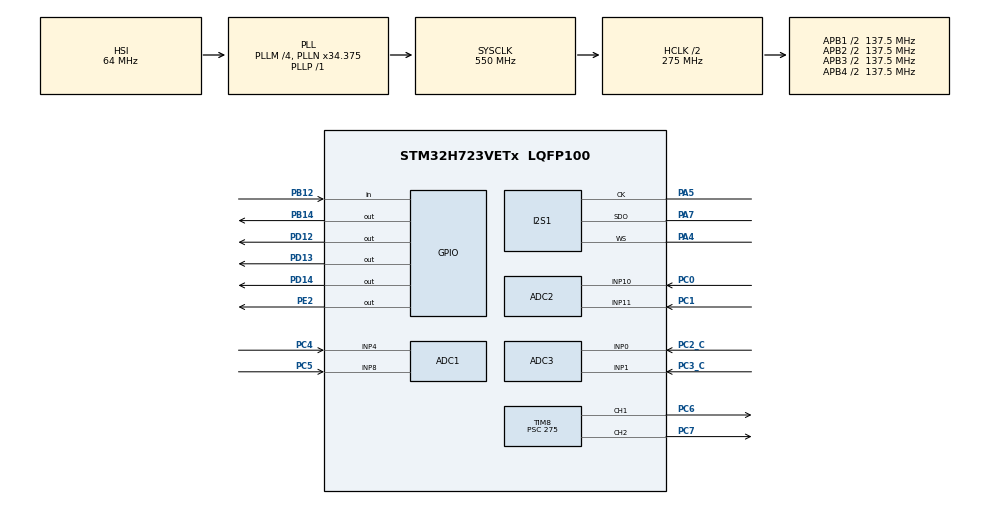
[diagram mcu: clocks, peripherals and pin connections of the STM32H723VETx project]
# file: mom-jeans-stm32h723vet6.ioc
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ADC1.Channel-4\#ChannelRegularConversion=ADC_CHANNEL_4
ADC1.Channel-5\#ChannelRegularConversion=ADC_CHANNEL_8
ADC1.ConversionDataManagement=ADC_CONVERSIONDATA_DMA_CIRCULAR
ADC1.EOCSelection=ADC_EOC_SEQ_CONV
ADC1.ExternalTrigConv=ADC_EXTERNALTRIG_T2_TRGO
ADC1.NbrOfConversion=2
ADC1.NbrOfConversionFlag=1
ADC1.OffsetNumber-4\#ChannelRegularConversion=ADC_OFFSET_NONE
ADC1.OffsetNumber-5\#ChannelRegularConversion=ADC_OFFSET_NONE
ADC1.OffsetSignedSaturation-4\#ChannelRegularConversion=DISABLE
ADC1.OffsetSignedSaturation-5\#ChannelRegularConversion=DISABLE
ADC1.OversamplingMode=ENABLE
ADC1.Rank-4\#ChannelRegularConversion=1
ADC1.Rank-5\#ChannelRegularConversion=2
ADC1.Ratio=4
ADC1.RightBitShift=ADC_RIGHTBITSHIFT_2
ADC1.SamplingTime-4\#ChannelRegularConversion=ADC_SAMPLETIME_810CYCLES_5
ADC1.SamplingTime-5\#ChannelRegularConversion=ADC_SAMPLETIME_810CYCLES_5
ADC1.master=1
ADC2.Channel-0\#ChannelRegularConversion=ADC_CHANNEL_10
ADC2.Channel-1\#ChannelRegularConversion=ADC_CHANNEL_11
ADC2.ConversionDataManagement=ADC_CONVERSIONDATA_DMA_CIRCULAR
ADC2.EOCSelection=ADC_EOC_SEQ_CONV
ADC2.ExternalTrigConv=ADC_EXTERNALTRIG_T3_TRGO
ADC2.NbrOfConversion=2
ADC2.NbrOfConversionFlag=1
ADC2.OffsetNumber-0\#ChannelRegularConversion=ADC_OFFSET_NONE
ADC2.OffsetNumber-1\#ChannelRegularConversion=ADC_OFFSET_NONE
ADC2.OffsetSignedSaturation-0\#ChannelRegularConversion=DISABLE
ADC2.OffsetSignedSaturation-1\#ChannelRegularConversion=DISABLE
ADC2.OversamplingMode=ENABLE
ADC2.Rank-0\#ChannelRegularConversion=1
ADC2.Rank-1\#ChannelRegularConversion=2
ADC2.Ratio=16
ADC2.RightBitShift=ADC_RIGHTBITSHIFT_4
ADC2.SamplingTime-0\#ChannelRegularConversion=ADC_SAMPLETIME_387CYCLES_5
ADC2.SamplingTime-1\#ChannelRegularConversion=ADC_SAMPLETIME_387CYCLES_5
ADC3.Channel-0\#ChannelRegularConversion=ADC_CHANNEL_0
ADC3.Channel-2\#ChannelRegularConversion=ADC_CHANNEL_1
ADC3.ConversionDataManagement=ADC_CONVERSIONDATA_DMA_CIRCULAR
ADC3.DMAContinuousRequests=ENABLE
ADC3.EOCSelection=ADC_EOC_SEQ_CONV
ADC3.EnableAnalogWatchDog2=false
ADC3.ExternalTrigConv=ADC_EXTERNALTRIG_T1_TRGO
ADC3.NbrOfConversion=2
ADC3.NbrOfConversionFlag=1
ADC3.OffsetNumber-0\#ChannelRegularConversion=ADC_OFFSET_NONE
ADC3.OffsetNumber-2\#ChannelRegularConversion=ADC_OFFSET_NONE
ADC3.OffsetSign-0\#ChannelRegularConversion=ADC3_OFFSET_SIGN_NEGATIVE
ADC3.OffsetSign-2\#ChannelRegularConversion=ADC3_OFFSET_SIGN_NEGATIVE
ADC3.OversamplingMode=ENABLE
ADC3.Rank-0\#ChannelRegularConversion=1
ADC3.Rank-2\#ChannelRegularConversion=2
ADC3.Ratio=ADC3_OVERSAMPLING_RATIO_16
ADC3.RightBitShift=ADC_RIGHTBITSHIFT_4
ADC3.SamplingTime-0\#ChannelRegularConversion=ADC3_SAMPLETIME_47CYCLES_5
ADC3.SamplingTime-2\#ChannelRegularConversion=ADC3_SAMPLETIME_47CYCLES_5
CORTEX_M7.default_mode_Activation=1
Dma.ADC1.1.Direction=DMA_PERIPH_TO_MEMORY
Dma.ADC1.1.EventEnable=DISABLE
Dma.ADC1.1.FIFOMode=DMA_FIFOMODE_DISABLE
Dma.ADC1.1.Instance=DMA1_Stream1
Dma.ADC1.1.MemDataAlignment=DMA_MDATAALIGN_HALFWORD
Dma.ADC1.1.MemInc=DMA_MINC_ENABLE
Dma.ADC1.1.Mode=DMA_CIRCULAR
Dma.ADC1.1.PeriphDataAlignment=DMA_PDATAALIGN_HALFWORD
Dma.ADC1.1.PeriphInc=DMA_PINC_DISABLE
Dma.ADC1.1.Polarity=HAL_DMAMUX_REQ_GEN_RISING
Dma.ADC1.1.Priority=DMA_PRIORITY_LOW
Dma.ADC1.1.RequestNumber=1
Dma.ADC1.1.SignalID=NONE
Dma.ADC1.1.SyncEnable=DISABLE
Dma.ADC1.1.SyncPolarity=HAL_DMAMUX_SYNC_NO_EVENT
Dma.ADC1.1.SyncRequestNumber=1
Dma.ADC1.1.SyncSignalID=NONE
Dma.ADC2.0.Direction=DMA_PERIPH_TO_MEMORY
Dma.ADC2.0.EventEnable=DISABLE
Dma.ADC2.0.FIFOMode=DMA_FIFOMODE_DISABLE
Dma.ADC2.0.Instance=DMA1_Stream0
Dma.ADC2.0.MemDataAlignment=DMA_MDATAALIGN_HALFWORD
Dma.ADC2.0.MemInc=DMA_MINC_ENABLE
Dma.ADC2.0.Mode=DMA_CIRCULAR
Dma.ADC2.0.PeriphDataAlignment=DMA_PDATAALIGN_HALFWORD
Dma.ADC2.0.PeriphInc=DMA_PINC_DISABLE
Dma.ADC2.0.Polarity=HAL_DMAMUX_REQ_GEN_RISING
Dma.ADC2.0.Priority=DMA_PRIORITY_LOW
Dma.ADC2.0.RequestNumber=1
Dma.ADC2.0.SignalID=NONE
Dma.ADC2.0.SyncEnable=DISABLE
Dma.ADC2.0.SyncPolarity=HAL_DMAMUX_SYNC_NO_EVENT
Dma.ADC2.0.SyncRequestNumber=1
Dma.ADC2.0.SyncSignalID=NONE
Dma.ADC3.2.Direction=DMA_PERIPH_TO_MEMORY
Dma.ADC3.2.EventEnable=DISABLE
Dma.ADC3.2.FIFOMode=DMA_FIFOMODE_DISABLE
Dma.ADC3.2.Instance=DMA2_Stream0
Dma.ADC3.2.MemDataAlignment=DMA_MDATAALIGN_HALFWORD
Dma.ADC3.2.MemInc=DMA_MINC_ENABLE
Dma.ADC3.2.Mode=DMA_CIRCULAR
Dma.ADC3.2.PeriphDataAlignment=DMA_PDATAALIGN_HALFWORD
Dma.ADC3.2.PeriphInc=DMA_PINC_DISABLE
Dma.ADC3.2.Polarity=HAL_DMAMUX_REQ_GEN_RISING
Dma.ADC3.2.Priority=DMA_PRIORITY_LOW
Dma.ADC3.2.RequestNumber=1
Dma.ADC3.2.SignalID=NONE
Dma.ADC3.2.SyncEnable=DISABLE
Dma.ADC3.2.SyncPolarity=HAL_DMAMUX_SYNC_NO_EVENT
Dma.ADC3.2.SyncRequestNumber=1
Dma.ADC3.2.SyncSignalID=NONE
Dma.Request0=ADC2
Dma.Request1=ADC1
Dma.Request2=ADC3
Dma.Request3=SPI1_TX
Dma.SPI1_TX.3.Direction=DMA_MEMORY_TO_PERIPH
Dma.SPI1_TX.3.EventEnable=DISABLE
Dma.SPI1_TX.3.FIFOMode=DMA_FIFOMODE_DISABLE
Dma.SPI1_TX.3.Instance=DMA1_Stream2
Dma.SPI1_TX.3.MemDataAlignment=DMA_MDATAALIGN_HALFWORD
Dma.SPI1_TX.3.MemInc=DMA_MINC_ENABLE
Dma.SPI1_TX.3.Mode=DMA_CIRCULAR
Dma.SPI1_TX.3.PeriphDataAlignment=DMA_PDATAALIGN_HALFWORD
Dma.SPI1_TX.3.PeriphInc=DMA_PINC_DISABLE
Dma.SPI1_TX.3.Polarity=HAL_DMAMUX_REQ_GEN_RISING
Dma.SPI1_TX.3.Priority=DMA_PRIORITY_VERY_HIGH
Dma.SPI1_TX.3.RequestNumber=1
Dma.SPI1_TX.3.SignalID=NONE
Dma.SPI1_TX.3.SyncEnable=DISABLE
Dma.SPI1_TX.3.SyncPolarity=HAL_DMAMUX_SYNC_NO_EVENT
Dma.SPI1_TX.3.SyncRequestNumber=1
Dma.SPI1_TX.3.SyncSignalID=NONE
I2S1.AudioFreq=I2S_AUDIOFREQ_44K
I2S1.DataFormat=I2S_DATAFORMAT_16B_EXTENDED
I2S1.ErrorAudioFreq=0.15 %
I2S1.Instance=SPI$Index
I2S1.RealAudioFreq=44.07 KHz
Mcu.Family=STM32H7
Mcu.Name=STM32H723VETx
Mcu.Package=LQFP100
NVIC.ADC3_IRQn=true\:0\:0\:false\:false\:true\:true\:true\:true
NVIC.ADC_IRQn=true\:0\:0\:false\:false\:true\:true\:true\:true
NVIC.DMA1_Stream0_IRQn=true\:0\:0\:false\:false\:true\:false\:true\:true
NVIC.DMA1_Stream1_IRQn=true\:0\:0\:false\:false\:true\:false\:true\:true
NVIC.DMA1_Stream2_IRQn=true\:0\:0\:false\:false\:true\:false\:true\:true
NVIC.DMA2_Stream0_IRQn=true\:0\:0\:false\:false\:true\:false\:true\:true
NVIC.PriorityGroup=NVIC_PRIORITYGROUP_4
NVIC.TIM2_IRQn=true\:0\:0\:false\:false\:true\:true\:true\:true
PA15(JTDI).Signal=S_TIM2_CH1_ETR
PA4.Mode=Half_Duplex_Master_Tx
PA4.Signal=I2S1_WS
PA5.Mode=Half_Duplex_Master_Tx
PA5.Signal=I2S1_CK
PA7.Mode=Half_Duplex_Master_Tx
PA7.Signal=I2S1_SDO
PB12.Signal=GPIO_Input
PB14.Signal=GPIO_Output
PC0.Signal=ADCx_INP10
PC1.Signal=ADCx_INP11
PC2_C.Mode=IN0-Single-Ended
PC2_C.Signal=ADC3_INP0
PC3_C.Mode=IN1-Single-Ended
PC3_C.Signal=ADC3_INP1
PC4.Signal=ADCx_INP4
PC5.Signal=ADCx_INP8
PC6.Signal=S_TIM8_CH1
PC7.Signal=S_TIM8_CH2
PD12.Signal=GPIO_Output
PD13.Signal=GPIO_Output
PD14.Signal=GPIO_Output
PE2.Signal=GPIO_Output
ProjectManager.HeapSize=0x200
ProjectManager.StackSize=0x400
ProjectManager.TargetToolchain=CMake
RCC.ADCFreq_Value=96000000
RCC.APB1Freq_Value=137500000
RCC.APB2Freq_Value=137500000
RCC.APB3Freq_Value=137500000
RCC.APB4Freq_Value=137500000
RCC.CortexFreq_Value=550000000
RCC.D1PPRE=RCC_APB3_DIV2
RCC.D2PPRE1=RCC_APB1_DIV2
RCC.D2PPRE2=RCC_APB2_DIV2
RCC.D3PPRE=RCC_APB4_DIV2
RCC.DIVM1=4
RCC.DIVM2=4
RCC.DIVN1=34
RCC.DIVN2=12
RCC.DIVP1=1
RCC.DIVQ1=3
RCC.HCLKFreq_Value=275000000
RCC.HPRE=RCC_HCLK_DIV2
RCC.PLL2FRACN=0
RCC.PLL3FRACN=0
RCC.PLLFRACN=3072
RCC.SYSCLKFreq_VALUE=550000000
RCC.SYSCLKSource=RCC_SYSCLKSOURCE_PLLCLK
RCC.USBFreq_Value=183333333.33333334
SH.ADCx_INP10.0=ADC2_INP10,IN10-Single-Ended
SH.ADCx_INP11.0=ADC2_INP11,IN11-Single-Ended
SH.ADCx_INP4.0=ADC1_INP4,IN4-Single-Ended
SH.ADCx_INP8.0=ADC1_INP8,IN8-Single-Ended
SH.S_TIM2_CH1_ETR.0=TIM2_CH1
SH.S_TIM8_CH1.0=TIM8_CH1,PWM Generation1 CH1
SH.S_TIM8_CH2.0=TIM8_CH2,PWM Generation2 CH2
TIM1.Period=77
TIM1.Prescaler=79
TIM1.RepetitionCounter=0
TIM1.TIM_MasterOutputTrigger=TIM_TRGO_UPDATE
TIM2.Channel-Output\ Compare1\ No\ Output=TIM_CHANNEL_1
TIM2.Period=100 - 1
TIM2.Prescaler=1920- 1
TIM2.Pulse-Output\ Compare1\ No\ Output=50
TIM2.TIM_MasterOutputTrigger=TIM_TRGO_OC1
TIM2.TIM_MasterSlaveMode=TIM_MASTERSLAVEMODE_DISABLE
TIM3.Period=256-1
TIM3.Prescaler=24-1
TIM3.TIM_MasterOutputTrigger=TIM_TRGO_UPDATE
TIM8.Channel-PWM\ Generation1\ CH1=TIM_CHANNEL_1
TIM8.Channel-PWM\ Generation2\ CH2=TIM_CHANNEL_2
TIM8.OCPolarity_1=TIM_OCPOLARITY_LOW
TIM8.OCPolarity_2=TIM_OCPOLARITY_LOW
TIM8.Period=999
TIM8.Prescaler=275
VP_MEMORYMAP_VS_MEMORYMAP.Mode=CurAppReg
VP_TIM1_VS_ClockSourceINT.Mode=Internal
VP_TIM2_VS_ClockSourceINT.Mode=Internal
VP_TIM2_VS_no_output1.Mode=Output Compare1 No Output
VP_TIM3_VS_ClockSourceINT.Mode=Internal
VP_TIM8_VS_ClockSourceINT.Mode=Internal
board=custom

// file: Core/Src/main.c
/* USER CODE BEGIN Header */
/**
  ******************************************************************************
  * @file           : main.c
  * @brief          : Main program body
  ******************************************************************************
  * @attention
  *
  * Copyright (c) 2025 STMicroelectronics.
  * All rights reserved.
  *
  * This software is licensed under terms that can be found in the LICENSE file
  * in the root directory of this software component.
  * If no LICENSE file comes with this software, it is provided AS-IS.
  *
  ******************************************************************************
  */
/* USER CODE END Header */
#include "main.h"

/* USER CODE BEGIN Includes */
#include "pulsar.h"
#include "math.h"
#include "pulsar_lut.h"
#include "pulsar_calibration.h"
/* USER CODE END Includes */

/* USER CODE BEGIN PTD */
__attribute__((aligned(4)))
typedef struct {
    uint32_t magic_number;                // Verification magic
    mom_jeans_calibration_t calibration;  // Calibration data
    uint32_t version;                     // Data structure version
    uint32_t checksum;                    // Simple checksum for integrity
} calibration_data_t;
/* USER CODE END PTD */

/* USER CODE BEGIN PD */
#define BUFFER_SIZE 64
#define SAMPLE_RATE 44070.512820513
#define DEBUG_LED_PIN GPIO_PIN_2
#define DEBUG_LED_GPIO_PORT GPIOE

#define INDEX_DETECT_PORT GPIOB
#define INDEX_DETECT_PIN GPIO_PIN_12

#define LED_GPIO_PORT GPIOC
#define CADENCE_LED_PIN GPIO_PIN_6
#define PITCH_LED_PIN GPIO_PIN_7
#define CADENCE_PWM_CHANNEL TIM_CHANNEL_1
#define PITCH_PWM_CHANNEL TIM_CHANNEL_2

#define MUX_SEL_GPIO_PORT GPIOD
#define MUX_S0_PIN GPIO_PIN_12
#define MUX_S1_PIN GPIO_PIN_13
#define MUX_S2_PIN GPIO_PIN_14
#define MUX_COM_GPIO_PORT GPIOC
#define MUX_COM_PIN GPIO_PIN_4
#define MUX2_COM_PIN GPIO_PIN_5

#define MUX_ADC_CHANNELS 2
#define DIRECT_ADC_CHANNELS 2
#define AUDIO_ADC_CHANNELS 2
#define AUDIO_ADC_BUFFER_SIZE (BUFFER_SIZE * AUDIO_ADC_CHANNELS / 2) // remember that the buffer has two channels

#define CALIBRATION_MAGIC       0xCAFEBABE
#define CALIBRATION_VERSION     1
#define CALIBRATION_SECTOR      FLASH_SECTOR_3        // Last sector for 512KB part
#define CALIBRATION_FLASH_ADDR  0x08060000            // Start of last sector (384KB offset)
#define CALIBRATION_SECTOR_SIZE 0x20000               // 128KB sector size
/* USER CODE END PD */

ADC_HandleTypeDef hadc1;
ADC_HandleTypeDef hadc2;
ADC_HandleTypeDef hadc3;
DMA_HandleTypeDef hdma_adc1;
DMA_HandleTypeDef hdma_adc2;
DMA_HandleTypeDef hdma_adc3;

I2S_HandleTypeDef hi2s1;
DMA_HandleTypeDef hdma_spi1_tx;

TIM_HandleTypeDef htim1;
TIM_HandleTypeDef htim2;
TIM_HandleTypeDef htim3;
TIM_HandleTypeDef htim8;

/* USER CODE BEGIN PV */
int ledState = 0;
int counter = 0;
float debug_value;
__attribute__((section(".sram1"), aligned(32))) int16_t audioBuffer[BUFFER_SIZE];
__attribute__((section(".sram1"), aligned(32))) uint16_t muxBuffer[MUX_ADC_CHANNELS];  // DMA buffer for potentiometer ADC data
__attribute__((section(".sram1"), aligned(32))) uint16_t adcBuffer[DIRECT_ADC_CHANNELS];  // DMA buffer for direct ADC data
__attribute__((section(".sram1"), aligned(32))) uint16_t audioInputBuffer[AUDIO_ADC_BUFFER_SIZE];  // DMA buffer for direct ADC data
uint8_t muxChannel = 0;  // Current MUX channel being read
uint16_t mux1Data[8];  // Buffer for MUX1 data
uint16_t mux2Data[8];  // Buffer for MUX2 data
volatile uint8_t halfBufferReady = 0;  // Flag for half buffer completion
volatile uint8_t fullBufferReady = 0;  // Flag for full buffer completion
volatile uint32_t readCounter = 0;
volatile uint32_t writeCounter = 0;
volatile uint32_t adc1ReadCounter = 0;
volatile uint32_t adc2ReadCounter = 0;
volatile uint32_t adc3ReadCounter = 0;
ps_t ps; // pulsar object
pulsar_state_t pulsar_state; // pulsar state
mom_jeans_calibration_t calibration; // pulsar calibration structure
mom_jeans_reading_t reading; // pulsar reading structure
uint8_t calibrating = 1;
uint8_t calibrationComplete = 0;
/* USER CODE END PV */

void SystemClock_Config(void);
void PeriphCommonClock_Config(void);
static void MPU_Config(void);
static void MX_GPIO_Init(void);
static void MX_DMA_Init(void);
static void MX_TIM3_Init(void);
static void MX_TIM2_Init(void);
static void MX_ADC1_Init(void);
static void MX_ADC3_Init(void);
static void MX_TIM1_Init(void);
static void MX_ADC2_Init(void);
static void MX_I2S1_Init(void);
static void MX_TIM8_Init(void);
/* USER CODE BEGIN PFP */
void enableCycleCounter();
uint32_t getCycleCount();
void setMultiplexerChannel(uint8_t channel);
float fillSine(int16_t *buffer, int size, float freq, float phase, float sr);
float makePulseFrequency(float pitch, float v_oct, float linear_fm, float fm_index, float *previous_value);
float hysteresis(float value, float hysteresis, float *previous_value);
void SetLEDIntensity(uint16_t intensity, uint32_t channel);
void copyReadings(mom_jeans_reading_t *reading);
void appendCalibration(mom_jeans_reading_t *reading, mom_jeans_calibration_t *calibration);
void fillPulsarState(mom_jeans_reading_t *reading, mom_jeans_calibration_t *calibration, pulsar_state_t *state);
/* USER CODE END PFP */

/* USER CODE BEGIN 0 */
static float scaleLin(float x, float a, float b, float c, float d) {
	return (x - a) / (b - a) * (d - c) + c;
}

static float clip(float value, float min, float max) {
  if (value < min) {
    return min;
  } else if (value > max) {
    return max;
  } else {
    return value;
  }
}

static float scaleJackInput(uint16_t x, uint16_t in_min, uint16_t in_zero, uint16_t in_max, float out_low, float out_high) {
  if (x < in_zero) {
    return scaleLin(x, in_min, in_zero, out_low, 0.0f);
  } else if (x > in_zero) {
    return scaleLin(x, in_zero, in_max, 0.0f, out_high);
  } else {
    return 0.0f; // If the value is exactly zero
  }
}

/**
 * @brief Calculate simple checksum for calibration data
 */
static uint32_t calculate_checksum(const mom_jeans_calibration_t* data) {
    uint32_t checksum = 0;
    const uint32_t* ptr = (const uint32_t*)data;
    size_t words = (sizeof(mom_jeans_calibration_t) - sizeof(uint32_t)) / sizeof(uint32_t);

    for (size_t i = 0; i < words; i++) {
        checksum ^= ptr[i];
    }
    return checksum;
}

/**
 * @brief Erase calibration sector
 * @return HAL_OK on success, error code on failure
 */
HAL_StatusTypeDef calibration_erase_sector(void) {
    HAL_StatusTypeDef status;

    // Unlock flash for erase operation
    HAL_FLASH_Unlock();

    // Configure erase parameters
    FLASH_EraseInitTypeDef erase_init;
    erase_init.TypeErase = FLASH_TYPEERASE_SECTORS;
    erase_init.Sector = CALIBRATION_SECTOR;          // FLASH_SECTOR_3
    erase_init.NbSectors = 1;                        // Erase only one sector
    erase_init.VoltageRange = FLASH_VOLTAGE_RANGE_3; // 2.7V to 3.6V

    uint32_t sector_error = 0;

    // Perform the erase operation
    status = HAL_FLASHEx_Erase(&erase_init, &sector_error);

    // Lock flash after operation
    HAL_FLASH_Lock();

    // Check if erase was successful
    if (status != HAL_OK) {
        // Optional: You can check sector_error for more details
        // sector_error will contain the sector number that failed (if any)
        return status;
    }

    return HAL_OK;
}

/**
 * @brief Read calibration data from flash
 * @return 1 if valid calibration data found, 0 otherwise
 */
uint8_t calibration_read_from_flash(mom_jeans_calibration_t *calibration) {
    // Read data directly from flash memory
    const calibration_data_t* flash_data = (const calibration_data_t*)CALIBRATION_FLASH_ADDR;
    const calibration_data_t calibration_copy;

    // Check magic number
    if (flash_data->magic_number != CALIBRATION_MAGIC) {
        return 0;
    }

    // Check version compatibility
    if (flash_data->version != CALIBRATION_VERSION) {
        return 0;
    }

    // Copy data to RAM for checksum calculation
    memcpy(&calibration_copy, flash_data, sizeof(calibration_data_t));

    // Verify checksum
    uint32_t calculated_checksum = calculate_checksum(&calibration_copy.calibration);
    if (calibration_copy.checksum != calculated_checksum) {
        return 0;
    }

    memcpy(calibration, &calibration_copy.calibration, sizeof(mom_jeans_calibration_t));
    return 1;
}

/**
 * @brief Write calibration data to flash
 * @return HAL_OK on success, error code on failure
 */
HAL_StatusTypeDef calibration_write_to_flash(mom_jeans_calibration_t *calibration) {
    HAL_StatusTypeDef status;

    calibration_data_t flash_calibration;
    flash_calibration.magic_number = CALIBRATION_MAGIC;
    flash_calibration.version = CALIBRATION_VERSION;

    // Update checksum before writing
    flash_calibration.checksum = calculate_checksum(calibration);
    memcpy(&flash_calibration.calibration, calibration, sizeof(mom_jeans_calibration_t));

    // Unlock flash
    HAL_FLASH_Unlock();

    // Erase the sector
    FLASH_EraseInitTypeDef erase_init;
    erase_init.TypeErase = FLASH_TYPEERASE_SECTORS;
    erase_init.Sector = CALIBRATION_SECTOR;
    erase_init.NbSectors = 1;
    erase_init.VoltageRange = FLASH_VOLTAGE_RANGE_3;  // 2.7V to 3.6V

    uint32_t sector_error;
    status = HAL_FLASHEx_Erase(&erase_init, &sector_error);
    if (status != HAL_OK) {
        HAL_FLASH_Lock();
        return status;
    }

    // Write data word by word (STM32H7 requires 256-bit writes, but HAL handles this)
  uint32_t data_ptr = (uint32_t)&flash_calibration;
  uint32_t address = CALIBRATION_FLASH_ADDR;
  size_t struct_size = sizeof(calibration_data_t);
  size_t chunk_size = 32; // FLASHWORD writes 32 bytes

  for (size_t offset = 0; offset < struct_size; offset += chunk_size) {
      status = HAL_FLASH_Program(FLASH_TYPEPROGRAM_FLASHWORD, address, data_ptr);
      if (status != HAL_OK) {
          HAL_FLASH_Lock();
          return status;
      }
      address += chunk_size;
      data_ptr += chunk_size;
  }

    // Lock flash
    HAL_FLASH_Lock();

    return HAL_OK;
}

void _processAudioBlock(int offset, uint8_t *lastResync, float *lastPitch)
{
  static const float scaleFactor = (-1.0 / 2.0) * 32768;
  static uint32_t triggerOutputCounter = 0;

  copyReadings(&reading);
  fillPulsarState(&reading, &calibration, &pulsar_state);

  float trigger_output = 0.0f;
  float internal_lfo_phase = 0.0f;

  for (int i = offset; i < BUFFER_SIZE / 2 + offset; i+=2) {
    int idx = i >> 1;
    int inputIdx = idx * AUDIO_ADC_CHANNELS + 1; // sync input
    uint8_t resync = audioInputBuffer[inputIdx] < 1800 ? 1 : 0; // resync if the input is below a threshold

    uint16_t linear_fm_jack = audioInputBuffer[inputIdx - 1]; // linear fm input
    pulsar_state.linear_fm = jack_to_float(
      linear_fm_jack,
      &calibration.linear_fm_jack,
      1.0f,
      -1.0f
    );

    float finalPitch = makePulseFrequency(
      pulsar_state.pitch,
      pulsar_state.v_oct,
      pulsar_state.linear_fm,
      1.0,
      lastPitch
    ); // Convert to frequency

    if (i == offset) {
      pulsar_configure(
        &ps,
        finalPitch,
        pulsar_state.density,
        pulsar_state.cadence,
        pulsar_state.torque,
        pulsar_state.waveform,
        pulsar_state.quantization,
        pulsar_state.coupling
      );
    }

    audioBuffer[i] = scaleFactor * pulsar_process(&ps, finalPitch, resync > *lastResync, &debug_value);
    trigger_output = pulsar_get_sync_output(&ps); // Get the sync output from pulsar

    if (trigger_output > 0.5f) {
      triggerOutputCounter = SAMPLE_RATE * 0.5 / (finalPitch + 1.0f); // Set the trigger output counter to 1/10th of a second
    } else {
      if (triggerOutputCounter > 0) {
        triggerOutputCounter--;
      }
    }

    audioBuffer[i + 1] = (triggerOutputCounter > 0 ? scaleFactor : 0);
    *lastResync = resync;
  }

  int16_t ledIntensity = 0;
  if (audioBuffer[0] > 0) {
    ledIntensity = triggerOutputCounter > 0 ? 999 : 0; // If trigger output is high, set LED intensity to 999
  }
  SetLEDIntensity(ledIntensity, PITCH_PWM_CHANNEL);

  ledIntensity = 0;
  internal_lfo_phase = pulsar_get_internal_lfo_phase(&ps); // Get the internal LFO phase
  float lfoIntensity = arm_sin_f32(internal_lfo_phase * PI * 2);
  if (lfoIntensity < 0) {
    ledIntensity = scaleLin(lfoIntensity, 0.0, -1.0, 0, 999); // Scale the intensity from 0 to 999
  }
  SetLEDIntensity(ledIntensity, CADENCE_PWM_CHANNEL);
}
/* USER CODE END 0 */

int main(void)
{

  /* MPU Configuration--------------------------------------------------------*/
  MPU_Config();

  /* MCU Configuration--------------------------------------------------------*/

  /* Reset of all peripherals, Initializes the Flash interface and the Systick. */
  HAL_Init();

  /* Configure the system clock */
  SystemClock_Config();

  /* Configure the peripherals common clocks */
  PeriphCommonClock_Config();

  /* Initialize all configured peripherals */
  MX_GPIO_Init();
  MX_DMA_Init();
  MX_TIM3_Init();
  MX_TIM2_Init();
  MX_ADC1_Init();
  MX_ADC3_Init();
  MX_TIM1_Init();
  MX_ADC2_Init();
  MX_I2S1_Init();
  MX_TIM8_Init();
  /* USER CODE BEGIN 2 */
  HAL_StatusTypeDef status;
  enableCycleCounter();

  // uint32_t timer_clock = HAL_RCC_GetPCLK2Freq(); // or GetPCLK1Freq()
  // uint32_t prescaler = htim1.Init.Prescaler;
  // uint32_t period = htim1.Init.Period;
  // uint32_t repetition = htim1.Init.RepetitionCounter;
  // uint32_t actual_freq = timer_clock / ((prescaler + 1) * (period + 1) * (repetition + 1));

  // ADC1
  status = HAL_ADCEx_Calibration_Start(&hadc1, ADC_CALIB_OFFSET, ADC_SINGLE_ENDED);
  status = HAL_ADC_Start_DMA(&hadc1, (uint32_t *) muxBuffer, MUX_ADC_CHANNELS);
  HAL_TIM_Base_Start_IT(&htim2);

  // ADC2
  status = HAL_ADCEx_Calibration_Start(&hadc2, ADC_CALIB_OFFSET, ADC_SINGLE_ENDED);
  status = HAL_ADC_Start_DMA(&hadc2, (uint32_t *) adcBuffer, DIRECT_ADC_CHANNELS);
  HAL_TIM_Base_Start(&htim3);

  // ADC3
  for (int i = 0; i < AUDIO_ADC_BUFFER_SIZE; i++) {
    audioInputBuffer[i] = 0; // Initialize the audio input buffer to zero
  }
  status = HAL_ADCEx_Calibration_Start(&hadc3, ADC_CALIB_OFFSET, ADC_SINGLE_ENDED);
  status = HAL_ADC_Start_DMA(&hadc3, (uint32_t *) audioInputBuffer, AUDIO_ADC_BUFFER_SIZE);
  HAL_TIM_Base_Start(&htim1);

  // TIM8 PWM
  HAL_TIM_PWM_Start(&htim8, TIM_CHANNEL_1);
  HAL_TIM_PWM_Start(&htim8, TIM_CHANNEL_2);

  if ((DMA1_Stream0->CR & DMA_SxCR_EN) == 0) {
    status = 1;
  }

  if ((DMA1_Stream1->CR & DMA_SxCR_EN) == 0) {
    status = 1;
  }

  if ((DMA2_Stream0->CR & DMA_SxCR_EN) == 0) {
    status = 1;
  }

  HAL_GPIO_WritePin(MUX_SEL_GPIO_PORT, MUX_S0_PIN | MUX_S1_PIN | MUX_S2_PIN, GPIO_PIN_RESET);

  fillSine(audioBuffer, BUFFER_SIZE, 200, 0, SAMPLE_RATE);
  status = HAL_I2S_Transmit_DMA(&hi2s1, (const uint16_t *) audioBuffer, BUFFER_SIZE);

  pulsar_init(&ps, SAMPLE_RATE);

  // This is where you'd load calibration data if you had any

  if (0) {
    calibration_erase_sector();
  }

  uint8_t calibration_status = calibration_read_from_flash(&calibration);
  if (!calibration_status) {
    calibrating = 1;
    calibrationComplete = 0;
    mom_jeans_zero_calibration(&calibration);
  } else {
    calibrating = 0;
  }

  /* USER CODE END 2 */

  /* Infinite loop */
  /* USER CODE BEGIN WHILE */
  uint8_t lastResync = 0;
  float lastPitch = 0.0f; // Initialize last pitch for makePulseFrequency

  while (1)
  {
    if (halfBufferReady) {
      if (!calibrating) {
        _processAudioBlock(0, &lastResync, &lastPitch);
      }
      halfBufferReady = 0;
      writeCounter++;

      if (calibrating && adc1ReadCounter > 8) {
        copyReadings(&reading);
        appendCalibration(&reading, &calibration);
        if (mom_jeans_is_calibrated(&calibration)) {
          calibrating = 0;
          calibrationComplete = 1;
          calibration_write_to_flash(&calibration);
        }
      }
    }

    if (fullBufferReady) {
      if (!calibrating) {
        _processAudioBlock(BUFFER_SIZE / 2, &lastResync, &lastPitch);
      }
      fullBufferReady = 0;
    }

    // turn on the LED if the write counter falls behind the read counter
    if (readCounter - writeCounter > 1) {
      HAL_GPIO_WritePin(DEBUG_LED_GPIO_PORT, DEBUG_LED_PIN, GPIO_PIN_RESET);
    } else {
      HAL_GPIO_WritePin(DEBUG_LED_GPIO_PORT, DEBUG_LED_PIN, GPIO_PIN_SET);
    }
    // HAL_GPIO_WritePin(DEBUG_LED_GPIO_PORT, DEBUG_LED_PIN, GPIO_PIN_RESET);
    /* USER CODE END WHILE */

  }
}

void SystemClock_Config(void)
{
  RCC_OscInitTypeDef RCC_OscInitStruct = {0};
  RCC_ClkInitTypeDef RCC_ClkInitStruct = {0};

  /** Supply configuration update enable
  */
  HAL_PWREx_ConfigSupply(PWR_LDO_SUPPLY);

  /** Configure the main internal regulator output voltage
  */
  __HAL_PWR_VOLTAGESCALING_CONFIG(PWR_REGULATOR_VOLTAGE_SCALE0);

  while(!__HAL_PWR_GET_FLAG(PWR_FLAG_VOSRDY)) {}

  /** Initializes the RCC Oscillators according to the specified parameters
  * in the RCC_OscInitTypeDef structure.
  */
  RCC_OscInitStruct.OscillatorType = RCC_OSCILLATORTYPE_HSI;
  RCC_OscInitStruct.HSIState = RCC_HSI_DIV1;
  RCC_OscInitStruct.HSICalibrationValue = 64;
  RCC_OscInitStruct.PLL.PLLState = RCC_PLL_ON;
  RCC_OscInitStruct.PLL.PLLSource = RCC_PLLSOURCE_HSI;
  RCC_OscInitStruct.PLL.PLLM = 4;
  RCC_OscInitStruct.PLL.PLLN = 34;
  RCC_OscInitStruct.PLL.PLLP = 1;
  RCC_OscInitStruct.PLL.PLLQ = 3;
  RCC_OscInitStruct.PLL.PLLR = 2;
  RCC_OscInitStruct.PLL.PLLRGE = RCC_PLL1VCIRANGE_3;
  RCC_OscInitStruct.PLL.PLLVCOSEL = RCC_PLL1VCOWIDE;
  RCC_OscInitStruct.PLL.PLLFRACN = 3072;
  if (HAL_RCC_OscConfig(&RCC_OscInitStruct) != HAL_OK)
  {
    Error_Handler();
  }

  /** Initializes the CPU, AHB and APB buses clocks
  */
  RCC_ClkInitStruct.ClockType = RCC_CLOCKTYPE_HCLK|RCC_CLOCKTYPE_SYSCLK
                              |RCC_CLOCKTYPE_PCLK1|RCC_CLOCKTYPE_PCLK2
                              |RCC_CLOCKTYPE_D3PCLK1|RCC_CLOCKTYPE_D1PCLK1;
  RCC_ClkInitStruct.SYSCLKSource = RCC_SYSCLKSOURCE_PLLCLK;
  RCC_ClkInitStruct.SYSCLKDivider = RCC_SYSCLK_DIV1;
  RCC_ClkInitStruct.AHBCLKDivider = RCC_HCLK_DIV2;
  RCC_ClkInitStruct.APB3CLKDivider = RCC_APB3_DIV2;
  RCC_ClkInitStruct.APB1CLKDivider = RCC_APB1_DIV2;
  RCC_ClkInitStruct.APB2CLKDivider = RCC_APB2_DIV2;
  RCC_ClkInitStruct.APB4CLKDivider = RCC_APB4_DIV2;

  if (HAL_RCC_ClockConfig(&RCC_ClkInitStruct, FLASH_LATENCY_3) != HAL_OK)
  {
    Error_Handler();
  }
}

void PeriphCommonClock_Config(void)
{
  RCC_PeriphCLKInitTypeDef PeriphClkInitStruct = {0};

  /** Initializes the peripherals clock
  */
  PeriphClkInitStruct.PeriphClockSelection = RCC_PERIPHCLK_ADC;
  PeriphClkInitStruct.PLL2.PLL2M = 4;
  PeriphClkInitStruct.PLL2.PLL2N = 12;
  PeriphClkInitStruct.PLL2.PLL2P = 2;
  PeriphClkInitStruct.PLL2.PLL2Q = 2;
  PeriphClkInitStruct.PLL2.PLL2R = 2;
  PeriphClkInitStruct.PLL2.PLL2RGE = RCC_PLL2VCIRANGE_3;
  PeriphClkInitStruct.PLL2.PLL2VCOSEL = RCC_PLL2VCOWIDE;
  PeriphClkInitStruct.PLL2.PLL2FRACN = 0;
  PeriphClkInitStruct.AdcClockSelection = RCC_ADCCLKSOURCE_PLL2;
  if (HAL_RCCEx_PeriphCLKConfig(&PeriphClkInitStruct) != HAL_OK)
  {
    Error_Handler();
  }
}

static void MX_ADC1_Init(void)
{

  ADC_MultiModeTypeDef multimode = {0};
  ADC_ChannelConfTypeDef sConfig = {0};

  /** Common config
  */
  hadc1.Instance = ADC1;
  hadc1.Init.ClockPrescaler = ADC_CLOCK_ASYNC_DIV1;
  hadc1.Init.Resolution = ADC_RESOLUTION_16B;
  hadc1.Init.ScanConvMode = ADC_SCAN_ENABLE;
  hadc1.Init.EOCSelection = ADC_EOC_SEQ_CONV;
  hadc1.Init.LowPowerAutoWait = DISABLE;
  hadc1.Init.ContinuousConvMode = DISABLE;
  hadc1.Init.NbrOfConversion = 2;
  hadc1.Init.DiscontinuousConvMode = DISABLE;
  hadc1.Init.ExternalTrigConv = ADC_EXTERNALTRIG_T2_TRGO;
  hadc1.Init.ExternalTrigConvEdge = ADC_EXTERNALTRIGCONVEDGE_RISING;
  hadc1.Init.ConversionDataManagement = ADC_CONVERSIONDATA_DMA_CIRCULAR;
  hadc1.Init.Overrun = ADC_OVR_DATA_PRESERVED;
  hadc1.Init.LeftBitShift = ADC_LEFTBITSHIFT_NONE;
  hadc1.Init.OversamplingMode = ENABLE;
  hadc1.Init.Oversampling.Ratio = 4;
  hadc1.Init.Oversampling.RightBitShift = ADC_RIGHTBITSHIFT_2;
  hadc1.Init.Oversampling.TriggeredMode = ADC_TRIGGEREDMODE_SINGLE_TRIGGER;
  hadc1.Init.Oversampling.OversamplingStopReset = ADC_REGOVERSAMPLING_CONTINUED_MODE;
  if (HAL_ADC_Init(&hadc1) != HAL_OK)
  {
    Error_Handler();
  }

  /** Configure the ADC multi-mode
  */
  multimode.Mode = ADC_MODE_INDEPENDENT;
  if (HAL_ADCEx_MultiModeConfigChannel(&hadc1, &multimode) != HAL_OK)
  {
    Error_Handler();
  }

  /** Configure Regular Channel
  */
  sConfig.Channel = ADC_CHANNEL_4;
  sConfig.Rank = ADC_REGULAR_RANK_1;
  sConfig.SamplingTime = ADC_SAMPLETIME_810CYCLES_5;
  sConfig.SingleDiff = ADC_SINGLE_ENDED;
  sConfig.OffsetNumber = ADC_OFFSET_NONE;
  sConfig.Offset = 0;
  sConfig.OffsetSignedSaturation = DISABLE;
  if (HAL_ADC_ConfigChannel(&hadc1, &sConfig) != HAL_OK)
  {
    Error_Handler();
  }

  /** Configure Regular Channel
  */
  sConfig.Channel = ADC_CHANNEL_8;
  sConfig.Rank = ADC_REGULAR_RANK_2;
  if (HAL_ADC_ConfigChannel(&hadc1, &sConfig) != HAL_OK)
  {
    Error_Handler();
  }

}

static void MX_ADC2_Init(void)
{

  ADC_ChannelConfTypeDef sConfig = {0};

  /** Common config
  */
  hadc2.Instance = ADC2;
  hadc2.Init.ClockPrescaler = ADC_CLOCK_ASYNC_DIV1;
  hadc2.Init.Resolution = ADC_RESOLUTION_16B;
  hadc2.Init.ScanConvMode = ADC_SCAN_ENABLE;
  hadc2.Init.EOCSelection = ADC_EOC_SEQ_CONV;
  hadc2.Init.LowPowerAutoWait = DISABLE;
  hadc2.Init.ContinuousConvMode = DISABLE;
  hadc2.Init.NbrOfConversion = 2;
  hadc2.Init.DiscontinuousConvMode = DISABLE;
  hadc2.Init.ExternalTrigConv = ADC_EXTERNALTRIG_T3_TRGO;
  hadc2.Init.ExternalTrigConvEdge = ADC_EXTERNALTRIGCONVEDGE_RISING;
  hadc2.Init.ConversionDataManagement = ADC_CONVERSIONDATA_DMA_CIRCULAR;
  hadc2.Init.Overrun = ADC_OVR_DATA_PRESERVED;
  hadc2.Init.LeftBitShift = ADC_LEFTBITSHIFT_NONE;
  hadc2.Init.OversamplingMode = ENABLE;
  hadc2.Init.Oversampling.Ratio = 16;
  hadc2.Init.Oversampling.RightBitShift = ADC_RIGHTBITSHIFT_4;
  hadc2.Init.Oversampling.TriggeredMode = ADC_TRIGGEREDMODE_SINGLE_TRIGGER;
  hadc2.Init.Oversampling.OversamplingStopReset = ADC_REGOVERSAMPLING_CONTINUED_MODE;
  if (HAL_ADC_Init(&hadc2) != HAL_OK)
  {
    Error_Handler();
  }

  /** Configure Regular Channel
  */
  sConfig.Channel = ADC_CHANNEL_10;
  sConfig.Rank = ADC_REGULAR_RANK_1;
  sConfig.SamplingTime = ADC_SAMPLETIME_387CYCLES_5;
  sConfig.SingleDiff = ADC_SINGLE_ENDED;
  sConfig.OffsetNumber = ADC_OFFSET_NONE;
  sConfig.Offset = 0;
  sConfig.OffsetSignedSaturation = DISABLE;
  if (HAL_ADC_ConfigChannel(&hadc2, &sConfig) != HAL_OK)
  {
    Error_Handler();
  }

  /** Configure Regular Channel
  */
  sConfig.Channel = ADC_CHANNEL_11;
  sConfig.Rank = ADC_REGULAR_RANK_2;
  if (HAL_ADC_ConfigChannel(&hadc2, &sConfig) != HAL_OK)
  {
    Error_Handler();
  }

}

static void MX_ADC3_Init(void)
{

  ADC_ChannelConfTypeDef sConfig = {0};

  /** Common config
  */
  hadc3.Instance = ADC3;
  hadc3.Init.ClockPrescaler = ADC_CLOCK_ASYNC_DIV1;
  hadc3.Init.Resolution = ADC_RESOLUTION_12B;
  hadc3.Init.DataAlign = ADC3_DATAALIGN_RIGHT;
  hadc3.Init.ScanConvMode = ADC_SCAN_ENABLE;
  hadc3.Init.EOCSelection = ADC_EOC_SEQ_CONV;
  hadc3.Init.LowPowerAutoWait = DISABLE;
  hadc3.Init.ContinuousConvMode = DISABLE;
  hadc3.Init.NbrOfConversion = 2;
  hadc3.Init.DiscontinuousConvMode = DISABLE;
  hadc3.Init.ExternalTrigConv = ADC_EXTERNALTRIG_T1_TRGO;
  hadc3.Init.ExternalTrigConvEdge = ADC_EXTERNALTRIGCONVEDGE_RISING;
  hadc3.Init.DMAContinuousRequests = ENABLE;
  hadc3.Init.SamplingMode = ADC_SAMPLING_MODE_NORMAL;
  hadc3.Init.ConversionDataManagement = ADC_CONVERSIONDATA_DMA_CIRCULAR;
  hadc3.Init.Overrun = ADC_OVR_DATA_PRESERVED;
  hadc3.Init.LeftBitShift = ADC_LEFTBITSHIFT_NONE;
  hadc3.Init.OversamplingMode = ENABLE;
  hadc3.Init.Oversampling.Ratio = ADC3_OVERSAMPLING_RATIO_16;
  hadc3.Init.Oversampling.RightBitShift = ADC_RIGHTBITSHIFT_4;
  hadc3.Init.Oversampling.TriggeredMode = ADC_TRIGGEREDMODE_SINGLE_TRIGGER;
  hadc3.Init.Oversampling.OversamplingStopReset = ADC_REGOVERSAMPLING_CONTINUED_MODE;
  if (HAL_ADC_Init(&hadc3) != HAL_OK)
  {
    Error_Handler();
  }

  /** Configure Regular Channel
  */
  sConfig.Channel = ADC_CHANNEL_0;
  sConfig.Rank = ADC_REGULAR_RANK_1;
  sConfig.SamplingTime = ADC3_SAMPLETIME_47CYCLES_5;
  sConfig.SingleDiff = ADC_SINGLE_ENDED;
  sConfig.OffsetNumber = ADC_OFFSET_NONE;
  sConfig.Offset = 0;
  sConfig.OffsetSign = ADC3_OFFSET_SIGN_NEGATIVE;
  if (HAL_ADC_ConfigChannel(&hadc3, &sConfig) != HAL_OK)
  {
    Error_Handler();
  }

  /** Configure Regular Channel
  */
  sConfig.Channel = ADC_CHANNEL_1;
  sConfig.Rank = ADC_REGULAR_RANK_2;
  if (HAL_ADC_ConfigChannel(&hadc3, &sConfig) != HAL_OK)
  {
    Error_Handler();
  }

}

static void MX_I2S1_Init(void)
{

  hi2s1.Instance = SPI1;
  hi2s1.Init.Mode = I2S_MODE_MASTER_TX;
  hi2s1.Init.Standard = I2S_STANDARD_PHILIPS;
  hi2s1.Init.DataFormat = I2S_DATAFORMAT_16B_EXTENDED;
  hi2s1.Init.MCLKOutput = I2S_MCLKOUTPUT_DISABLE;
  hi2s1.Init.AudioFreq = I2S_AUDIOFREQ_44K;
  hi2s1.Init.CPOL = I2S_CPOL_LOW;
  hi2s1.Init.FirstBit = I2S_FIRSTBIT_MSB;
  hi2s1.Init.WSInversion = I2S_WS_INVERSION_DISABLE;
  hi2s1.Init.Data24BitAlignment = I2S_DATA_24BIT_ALIGNMENT_RIGHT;
  hi2s1.Init.MasterKeepIOState = I2S_MASTER_KEEP_IO_STATE_DISABLE;
  if (HAL_I2S_Init(&hi2s1) != HAL_OK)
  {
    Error_Handler();
  }

}

static void MX_TIM1_Init(void)
{

  TIM_ClockConfigTypeDef sClockSourceConfig = {0};
  TIM_MasterConfigTypeDef sMasterConfig = {0};

  htim1.Instance = TIM1;
  htim1.Init.Prescaler = 79;
  htim1.Init.CounterMode = TIM_COUNTERMODE_UP;
  htim1.Init.Period = 77;
  htim1.Init.ClockDivision = TIM_CLOCKDIVISION_DIV1;
  htim1.Init.RepetitionCounter = 0;
  htim1.Init.AutoReloadPreload = TIM_AUTORELOAD_PRELOAD_DISABLE;
  if (HAL_TIM_Base_Init(&htim1) != HAL_OK)
  {
    Error_Handler();
  }
  sClockSourceConfig.ClockSource = TIM_CLOCKSOURCE_INTERNAL;
  if (HAL_TIM_ConfigClockSource(&htim1, &sClockSourceConfig) != HAL_OK)
  {
    Error_Handler();
  }
  sMasterConfig.MasterOutputTrigger = TIM_TRGO_UPDATE;
  sMasterConfig.MasterOutputTrigger2 = TIM_TRGO2_RESET;
  sMasterConfig.MasterSlaveMode = TIM_MASTERSLAVEMODE_DISABLE;
  if (HAL_TIMEx_MasterConfigSynchronization(&htim1, &sMasterConfig) != HAL_OK)
  {
    Error_Handler();
  }

}

static void MX_TIM2_Init(void)
{

  TIM_ClockConfigTypeDef sClockSourceConfig = {0};
  TIM_MasterConfigTypeDef sMasterConfig = {0};
  TIM_OC_InitTypeDef sConfigOC = {0};

  htim2.Instance = TIM2;
  htim2.Init.Prescaler = 1920- 1;
  htim2.Init.CounterMode = TIM_COUNTERMODE_UP;
  htim2.Init.Period = 100 - 1;
  htim2.Init.ClockDivision = TIM_CLOCKDIVISION_DIV1;
  htim2.Init.AutoReloadPreload = TIM_AUTORELOAD_PRELOAD_DISABLE;
  if (HAL_TIM_Base_Init(&htim2) != HAL_OK)
  {
    Error_Handler();
  }
  sClockSourceConfig.ClockSource = TIM_CLOCKSOURCE_INTERNAL;
  if (HAL_TIM_ConfigClockSource(&htim2, &sClockSourceConfig) != HAL_OK)
  {
    Error_Handler();
  }
  if (HAL_TIM_OC_Init(&htim2) != HAL_OK)
  {
    Error_Handler();
  }
  sMasterConfig.MasterOutputTrigger = TIM_TRGO_OC1;
  sMasterConfig.MasterSlaveMode = TIM_MASTERSLAVEMODE_DISABLE;
  if (HAL_TIMEx_MasterConfigSynchronization(&htim2, &sMasterConfig) != HAL_OK)
  {
    Error_Handler();
  }
  sConfigOC.OCMode = TIM_OCMODE_TIMING;
  sConfigOC.Pulse = 50;
  sConfigOC.OCPolarity = TIM_OCPOLARITY_HIGH;
  sConfigOC.OCFastMode = TIM_OCFAST_DISABLE;
  if (HAL_TIM_OC_ConfigChannel(&htim2, &sConfigOC, TIM_CHANNEL_1) != HAL_OK)
  {
    Error_Handler();
  }

}

static void MX_TIM3_Init(void)
{

  TIM_ClockConfigTypeDef sClockSourceConfig = {0};
  TIM_MasterConfigTypeDef sMasterConfig = {0};

  htim3.Instance = TIM3;
  htim3.Init.Prescaler = 24-1;
  htim3.Init.CounterMode = TIM_COUNTERMODE_UP;
  htim3.Init.Period = 256-1;
  htim3.Init.ClockDivision = TIM_CLOCKDIVISION_DIV1;
  htim3.Init.AutoReloadPreload = TIM_AUTORELOAD_PRELOAD_DISABLE;
  if (HAL_TIM_Base_Init(&htim3) != HAL_OK)
  {
    Error_Handler();
  }
  sClockSourceConfig.ClockSource = TIM_CLOCKSOURCE_INTERNAL;
  if (HAL_TIM_ConfigClockSource(&htim3, &sClockSourceConfig) != HAL_OK)
  {
    Error_Handler();
  }
  sMasterConfig.MasterOutputTrigger = TIM_TRGO_UPDATE;
  sMasterConfig.MasterSlaveMode = TIM_MASTERSLAVEMODE_DISABLE;
  if (HAL_TIMEx_MasterConfigSynchronization(&htim3, &sMasterConfig) != HAL_OK)
  {
    Error_Handler();
  }

}

static void MX_TIM8_Init(void)
{

  TIM_ClockConfigTypeDef sClockSourceConfig = {0};
  TIM_MasterConfigTypeDef sMasterConfig = {0};
  TIM_OC_InitTypeDef sConfigOC = {0};
  TIM_BreakDeadTimeConfigTypeDef sBreakDeadTimeConfig = {0};

  htim8.Instance = TIM8;
  htim8.Init.Prescaler = 275;
  htim8.Init.CounterMode = TIM_COUNTERMODE_UP;
  htim8.Init.Period = 999;
  htim8.Init.ClockDivision = TIM_CLOCKDIVISION_DIV1;
  htim8.Init.RepetitionCounter = 0;
  htim8.Init.AutoReloadPreload = TIM_AUTORELOAD_PRELOAD_DISABLE;
  if (HAL_TIM_Base_Init(&htim8) != HAL_OK)
  {
    Error_Handler();
  }
  sClockSourceConfig.ClockSource = TIM_CLOCKSOURCE_INTERNAL;
  if (HAL_TIM_ConfigClockSource(&htim8, &sClockSourceConfig) != HAL_OK)
  {
    Error_Handler();
  }
  if (HAL_TIM_PWM_Init(&htim8) != HAL_OK)
  {
    Error_Handler();
  }
  sMasterConfig.MasterOutputTrigger = TIM_TRGO_RESET;
  sMasterConfig.MasterOutputTrigger2 = TIM_TRGO2_RESET;
  sMasterConfig.MasterSlaveMode = TIM_MASTERSLAVEMODE_DISABLE;
  if (HAL_TIMEx_MasterConfigSynchronization(&htim8, &sMasterConfig) != HAL_OK)
  {
    Error_Handler();
  }
  sConfigOC.OCMode = TIM_OCMODE_PWM1;
  sConfigOC.Pulse = 0;
  sConfigOC.OCPolarity = TIM_OCPOLARITY_LOW;
  sConfigOC.OCNPolarity = TIM_OCNPOLARITY_HIGH;
  sConfigOC.OCFastMode = TIM_OCFAST_DISABLE;
  sConfigOC.OCIdleState = TIM_OCIDLESTATE_RESET;
  sConfigOC.OCNIdleState = TIM_OCNIDLESTATE_RESET;
  if (HAL_TIM_PWM_ConfigChannel(&htim8, &sConfigOC, TIM_CHANNEL_1) != HAL_OK)
  {
    Error_Handler();
  }
  if (HAL_TIM_PWM_ConfigChannel(&htim8, &sConfigOC, TIM_CHANNEL_2) != HAL_OK)
  {
    Error_Handler();
  }
  sBreakDeadTimeConfig.OffStateRunMode = TIM_OSSR_DISABLE;
  sBreakDeadTimeConfig.OffStateIDLEMode = TIM_OSSI_DISABLE;
  sBreakDeadTimeConfig.LockLevel = TIM_LOCKLEVEL_OFF;
  sBreakDeadTimeConfig.DeadTime = 0;
  sBreakDeadTimeConfig.BreakState = TIM_BREAK_DISABLE;
  sBreakDeadTimeConfig.BreakPolarity = TIM_BREAKPOLARITY_HIGH;
  sBreakDeadTimeConfig.BreakFilter = 0;
  sBreakDeadTimeConfig.Break2State = TIM_BREAK2_DISABLE;
  sBreakDeadTimeConfig.Break2Polarity = TIM_BREAK2POLARITY_HIGH;
  sBreakDeadTimeConfig.Break2Filter = 0;
  sBreakDeadTimeConfig.AutomaticOutput = TIM_AUTOMATICOUTPUT_DISABLE;
  if (HAL_TIMEx_ConfigBreakDeadTime(&htim8, &sBreakDeadTimeConfig) != HAL_OK)
  {
    Error_Handler();
  }
  HAL_TIM_MspPostInit(&htim8);

}

static void MX_DMA_Init(void)
{

  /* DMA controller clock enable */
  __HAL_RCC_DMA1_CLK_ENABLE();
  __HAL_RCC_DMA2_CLK_ENABLE();

  /* DMA interrupt init */
  /* DMA1_Stream0_IRQn interrupt configuration */
  HAL_NVIC_SetPriority(DMA1_Stream0_IRQn, 0, 0);
  HAL_NVIC_EnableIRQ(DMA1_Stream0_IRQn);
  /* DMA1_Stream1_IRQn interrupt configuration */
  HAL_NVIC_SetPriority(DMA1_Stream1_IRQn, 0, 0);
  HAL_NVIC_EnableIRQ(DMA1_Stream1_IRQn);
  /* DMA1_Stream2_IRQn interrupt configuration */
  HAL_NVIC_SetPriority(DMA1_Stream2_IRQn, 0, 0);
  HAL_NVIC_EnableIRQ(DMA1_Stream2_IRQn);
  /* DMA2_Stream0_IRQn interrupt configuration */
  HAL_NVIC_SetPriority(DMA2_Stream0_IRQn, 0, 0);
  HAL_NVIC_EnableIRQ(DMA2_Stream0_IRQn);

}

static void MX_GPIO_Init(void)
{
  GPIO_InitTypeDef GPIO_InitStruct = {0};

  /* GPIO Ports Clock Enable */
  __HAL_RCC_GPIOE_CLK_ENABLE();
  __HAL_RCC_GPIOC_CLK_ENABLE();
  __HAL_RCC_GPIOA_CLK_ENABLE();
  __HAL_RCC_GPIOB_CLK_ENABLE();
  __HAL_RCC_GPIOD_CLK_ENABLE();

  /*Configure GPIO pin Output Level */
  HAL_GPIO_WritePin(GPIOE, GPIO_PIN_2, GPIO_PIN_RESET);

  /*Configure GPIO pin Output Level */
  HAL_GPIO_WritePin(GPIOB, GPIO_PIN_14, GPIO_PIN_RESET);

  /*Configure GPIO pin Output Level */
  HAL_GPIO_WritePin(GPIOD, GPIO_PIN_12|GPIO_PIN_13|GPIO_PIN_14, GPIO_PIN_RESET);

  /*Configure GPIO pin : PE2 */
  GPIO_InitStruct.Pin = GPIO_PIN_2;
  GPIO_InitStruct.Mode = GPIO_MODE_OUTPUT_PP;
  GPIO_InitStruct.Pull = GPIO_NOPULL;
  GPIO_InitStruct.Speed = GPIO_SPEED_FREQ_LOW;
  HAL_GPIO_Init(GPIOE, &GPIO_InitStruct);

  /*Configure GPIO pin : PB12 */
  GPIO_InitStruct.Pin = GPIO_PIN_12;
  GPIO_InitStruct.Mode = GPIO_MODE_INPUT;
  GPIO_InitStruct.Pull = GPIO_NOPULL;
  HAL_GPIO_Init(GPIOB, &GPIO_InitStruct);

  /*Configure GPIO pin : PB14 */
  GPIO_InitStruct.Pin = GPIO_PIN_14;
  GPIO_InitStruct.Mode = GPIO_MODE_OUTPUT_PP;
  GPIO_InitStruct.Pull = GPIO_NOPULL;
  GPIO_InitStruct.Speed = GPIO_SPEED_FREQ_LOW;
  HAL_GPIO_Init(GPIOB, &GPIO_InitStruct);

  /*Configure GPIO pins : PD12 PD13 PD14 */
  GPIO_InitStruct.Pin = GPIO_PIN_12|GPIO_PIN_13|GPIO_PIN_14;
  GPIO_InitStruct.Mode = GPIO_MODE_OUTPUT_PP;
  GPIO_InitStruct.Pull = GPIO_NOPULL;
  GPIO_InitStruct.Speed = GPIO_SPEED_FREQ_LOW;
  HAL_GPIO_Init(GPIOD, &GPIO_InitStruct);

}

/* USER CODE BEGIN 4 */
void enableCycleCounter() {
    CoreDebug->DEMCR &= ~0x01000000;

    CoreDebug->DEMCR |=  0x01000000; // TRCENA

    DWT->LAR = 0xC5ACCE55; // unlock

    DWT->CYCCNT = 0; // reset the counter

    DWT->CTRL &= ~0x00000001;

    DWT->CTRL |=  0x00000001; // enable the counter
}

uint32_t getCycleCount() {
    return DWT->CYCCNT; // Return the current cycle count
}

void setMultiplexerChannel(uint8_t channel) {
  HAL_GPIO_WritePin(MUX_SEL_GPIO_PORT, GPIO_PIN_12, (channel & 0x01) ? GPIO_PIN_SET : GPIO_PIN_RESET);
  HAL_GPIO_WritePin(MUX_SEL_GPIO_PORT, GPIO_PIN_13, (channel & 0x02) ? GPIO_PIN_SET : GPIO_PIN_RESET);
  HAL_GPIO_WritePin(MUX_SEL_GPIO_PORT, GPIO_PIN_14, (channel & 0x04) ? GPIO_PIN_SET : GPIO_PIN_RESET);
}

float fillSine(int16_t *buffer, int size, float freq, float phase, float sr) {
  static float twopi = 2 * 3.14159;
  static float scaleFactor = (1.0 / 4.0) * 32768;
  // float phaseIncrement = twopi * freq / sr;
  float phaseIncrement = twopi * 16.0f / size;
  for (int i = 0; i < size; i += 2) {
    // buffer[i] = scaleFactor * arm_sin_f32(phase);
    buffer[i] = scaleFactor * sinf(phase);
    // arm_sin_f32(phase, &buffer[i]);
    buffer[i + 1] = buffer[i];
    buffer[i + 1] = 0;
    phase += phaseIncrement;
  }

  if (phase > twopi) {
    phase -= twopi;
  }

  return phase;
}

float makePulseFrequency(float pitch, float v_oct, float linear_fm, float fm_index, float *previous_value)
{
  const float lfo_cutoff = 0.0f; // LFO cutoff frequency
  float pulse_frequency;

  if (pitch < lfo_cutoff) {
    pitch = scaleLin(pitch, 0.0, lfo_cutoff, -2.f, 4.78135971352f);
    pitch += v_oct + linear_fm * fm_index / 5.f;
    pulse_frequency = powf(2.f, pitch);
  } else {
    pitch = scaleLin(pitch, lfo_cutoff, 1.f, 0, 84);
    pitch = hysteresis(pitch, 0.5f, previous_value);
    pitch = roundf(pitch);
    pitch += (v_oct + linear_fm * fm_index / 5.f) * 12.0f;
    pulse_frequency = 27.5 * powf(2.f, pitch / 12.f);
  }

  return pulse_frequency;
}

float hysteresis(float value, float hysteresis, float *previous_value)
{
  if (fabsf(value - *previous_value) > hysteresis) {
    *previous_value = value;
  } else {
    value = *previous_value;
  }

  return value;
}

void SetLEDIntensity(uint16_t intensity, uint32_t channel) {
    // intensity: 0-999 for LED on given channel
    __HAL_TIM_SET_COMPARE(&htim8, channel, intensity);
}

void copyReadings(mom_jeans_reading_t *reading)
{
  reading->pitch_pot = mux1Data[2];
  reading->density_pot = mux1Data[1];
  reading->cadence_pot = mux1Data[3];
  reading->torque_pot = mux1Data[0];
  reading->waveform_pot = mux2Data[2];

  reading->density_jack = adcBuffer[0];
  reading->cadence_jack = mux2Data[7];
  reading->torque_jack = mux2Data[6];
  reading->waveform_jack = mux2Data[5];
  reading->voct_jack = adcBuffer[1];
  reading->linear_fm_jack = audioInputBuffer[1];
  reading->fm_index_jack = mux2Data[4];
  reading->sync_jack = audioInputBuffer[0];

  reading->coupling_switch = mux1Data[7];
  reading->quant_switch = mux1Data[4];
}

void appendCalibration(mom_jeans_reading_t *reading, mom_jeans_calibration_t *calibration)
{
  mom_jeans_append_calibration_reading(reading, calibration);
}

void fillPulsarState(mom_jeans_reading_t *reading, mom_jeans_calibration_t *calibration, pulsar_state_t *state)
{

//   float pitch;
//   float density;
//   float cadence;
//   float torque;
//   float waveform;

//   float v_oct;
//   float linear_fm;
//   float fm_index;

//   uint8_t sync;
//   uint8_t coupling;
//   uint8_t quantization;

// static inline float pot_and_jack_to_float(
//     uint16_t pot_value,
//     uint16_t jack_value,
//     potentiometer16u_t *pot,
//     jack16u_t *jack,
//     float min_value,
//     float max_value

  // float density_knob = scaleLin(mux1Data[1], 65535, 0, -1.0, 1.0); // Scale the density from 0 to 1
  // float waveform_knob = scaleLin(mux2Data[2], 65535, 0, 0.0, 5.0); // Scale the wave shape from 0 to 6
  // float ratio_knob = scaleLin(mux1Data[3], 65535, 0, 0.0, 1.0); // Scale the ratio from 0 to 1
  // float depth_knob = scaleLin(mux1Data[0], 65535, 0, 0.0, 1.0); // Scale the depth from 0 to 1
  // float pitch = scaleLin(mux1Data[2], 65535, 0, 0.0, 1.0); // Scale the pitch from 0 to 1

  // uint16_t density_jack = adcBuffer[0];
  // uint16_t v_oct_jack = adcBuffer[1];
  // uint16_t waveform_jack = mux2Data[5];
  // uint16_t index_jack = mux2Data[4];
  // uint16_t depth_jack = mux2Data[6];
  // uint16_t cadence_jack = mux2Data[7];

  // float density = clip(density_knob + scaleJackInput(density_jack, 100, 32868, 64000, 1.0, -1.0), -1.0f, 1.0f); // Combine the density from the knobs and jacks
  // float waveform = clip(waveform_knob + scaleJackInput(waveform_jack, 100, 32868, 64000, 6.0, -6.0), 0.0f, 4.9999f); // Combine the waveform from the knobs and jacks
  // float ratio = clip(ratio_knob + scaleJackInput(cadence_jack, 100, 32868, 64000, 1.0, -1.0), 0.0f, 1.0f); // Combine the ratio from the knobs and jacks
  // float depth = clip(depth_knob + scaleJackInput(depth_jack, 100, 32868, 64000, 1.0, -1.0), 0.0f, 1.0f); // Combine the depth from the knobs and jacks

  // uint8_t lock = mux1Data[4] > 32768 ? 1 : 0; // Lock the ratio if the value is above 32768
  // uint8_t couple = mux1Data[7] > 32768 ? 1 : 0; // Couple the frequency if the value is above 32768
  // float trigger_output = 0.0f;
  // float internal_lfo_phase = 0.0f;

  // for (int i = offset; i < BUFFER_SIZE / 2 + offset; i+=2) {
  //   // DWT->CYCCNT = 0;  // Reset the cycle counter
  //   int idx = i >> 1;
  //   int inputIdx = idx * AUDIO_ADC_CHANNELS + 1; // sync input
  //   uint8_t resync = audioInputBuffer[inputIdx] < 1800 ? 1 : 0; // resync if the input is below a threshold

  //   uint16_t linear_fm_jack = audioInputBuffer[inputIdx - 1]; // linear fm input
  //   float linear_fm = clip(scaleJackInput(linear_fm_jack, 122, 2059, 2583, 1.0, -1.0), -1.0f, 1.0f);
  //   float v_oct = clip(scaleJackInput(v_oct_jack, 100, 32868, 64000, 8.0f, -8.0f), -8.0f, 8.0f);

  state->pitch = pot_to_float(
    reading->pitch_pot,
    &calibration->pitch_pot,
    1.0f,
    0.0f
  );

  state->density = pot_and_jack_to_float(
    reading->density_pot,
    reading->density_jack,
    &calibration->density_pot,
    &calibration->density_jack,
    1.0f,
    -1.0f
  );

  state->cadence = pot_and_jack_to_float(
    reading->cadence_pot,
    reading->cadence_jack,
    &calibration->cadence_pot,
    &calibration->cadence_jack,
    1.0f,
    0.0f
  );

  state->torque = pot_and_jack_to_float(
    reading->torque_pot,
    reading->torque_jack,
    &calibration->torque_pot,
    &calibration->torque_jack,
    1.0f,
    0.0f
  );

  state->waveform = pot_and_jack_to_float(
    reading->waveform_pot,
    reading->waveform_jack,
    &calibration->waveform_pot,
    &calibration->waveform_jack,
    4.9999f,
    0.0f
  );

  state->v_oct = jack_to_float(
    reading->voct_jack,
    &calibration->voct_jack,
    8.0f,
    -8.0f
  );

  // Leave off linear_fm, since it's read at a faster rate
  // and computed per-sample

  uint8_t fm_index_detect = HAL_GPIO_ReadPin(INDEX_DETECT_PORT, INDEX_DETECT_PIN);

  if (fm_index_detect) {
    state->fm_index = 1.0f;
  } else {
    state->fm_index = jack_to_float(
    reading->fm_index_jack,
    &calibration->fm_index_jack,
    5.0f,
    0.0f
  );
  }

  // Leave off sync, since it's read at a faster rate
  // and computed per-sample

  state->coupling = switch_to_uint8(
    reading->coupling_switch,
    &calibration->coupling_switch
  );

  state->quantization = switch_to_uint8(
    reading->quant_switch,
    &calibration->quant_switch
  );
}

void HAL_TIM_PeriodElapsedCallback(TIM_HandleTypeDef *htim) {
  if (htim->Instance == TIM2) {
    // Timer for MUX channel switching
    setMultiplexerChannel(muxChannel);
  }
}

// Callback for ADC full transfer complete
void HAL_ADC_ConvCpltCallback(ADC_HandleTypeDef *hadc) {
  if (hadc->Instance == ADC1) {
    mux1Data[muxChannel] = muxBuffer[0];
    mux2Data[muxChannel] = muxBuffer[1];
    muxChannel = (muxChannel + 1) % 8;

    adc1ReadCounter++;
  }
  else if (hadc->Instance == ADC2) {
    adc2ReadCounter++;\
  }
  else if (hadc->Instance == ADC3) {
    adc3ReadCounter++;
  }
}

// Callback for Half Transfer Complete
void HAL_I2S_TxHalfCpltCallback(I2S_HandleTypeDef *hi2s) {
  if (hi2s->Instance==SPI1) {
    halfBufferReady = 1;
    // SCB_InvalidateDCache_by_Addr((uint32_t *)audioBuffer, (BUFFER_SIZE / 2) * sizeof(uint16_t));
    readCounter++;
  }
}

// Callback for Full Transfer Complete
void HAL_I2S_TxCpltCallback(I2S_HandleTypeDef *hi2s) {
  if (hi2s->Instance==SPI1) {
    // SCB_InvalidateDCache_by_Addr((uint32_t *) &audioBuffer[BUFFER_SIZE / 2], (BUFFER_SIZE / 2) * sizeof(uint16_t));
    fullBufferReady = 1;
  }
}

/* USER CODE END 4 */

 /* MPU Configuration */

void MPU_Config(void)
{
  MPU_Region_InitTypeDef MPU_InitStruct = {0};

  /* Disables the MPU */
  HAL_MPU_Disable();

  /** Initializes and configures the Region and the memory to be protected
  */
  MPU_InitStruct.Enable = MPU_REGION_ENABLE;
  MPU_InitStruct.Number = MPU_REGION_NUMBER0;
  MPU_InitStruct.BaseAddress = 0x0;
  MPU_InitStruct.Size = MPU_REGION_SIZE_4GB;
  MPU_InitStruct.SubRegionDisable = 0x87;
  MPU_InitStruct.TypeExtField = MPU_TEX_LEVEL0;
  MPU_InitStruct.AccessPermission = MPU_REGION_NO_ACCESS;
  MPU_InitStruct.DisableExec = MPU_INSTRUCTION_ACCESS_DISABLE;
  MPU_InitStruct.IsShareable = MPU_ACCESS_SHAREABLE;
  MPU_InitStruct.IsCacheable = MPU_ACCESS_NOT_CACHEABLE;
  MPU_InitStruct.IsBufferable = MPU_ACCESS_NOT_BUFFERABLE;

  HAL_MPU_ConfigRegion(&MPU_InitStruct);
  /* Enables the MPU */
  HAL_MPU_Enable(MPU_PRIVILEGED_DEFAULT);

}

void Error_Handler(void)
{
  __disable_irq();
  while (1)
  {
  }
}
